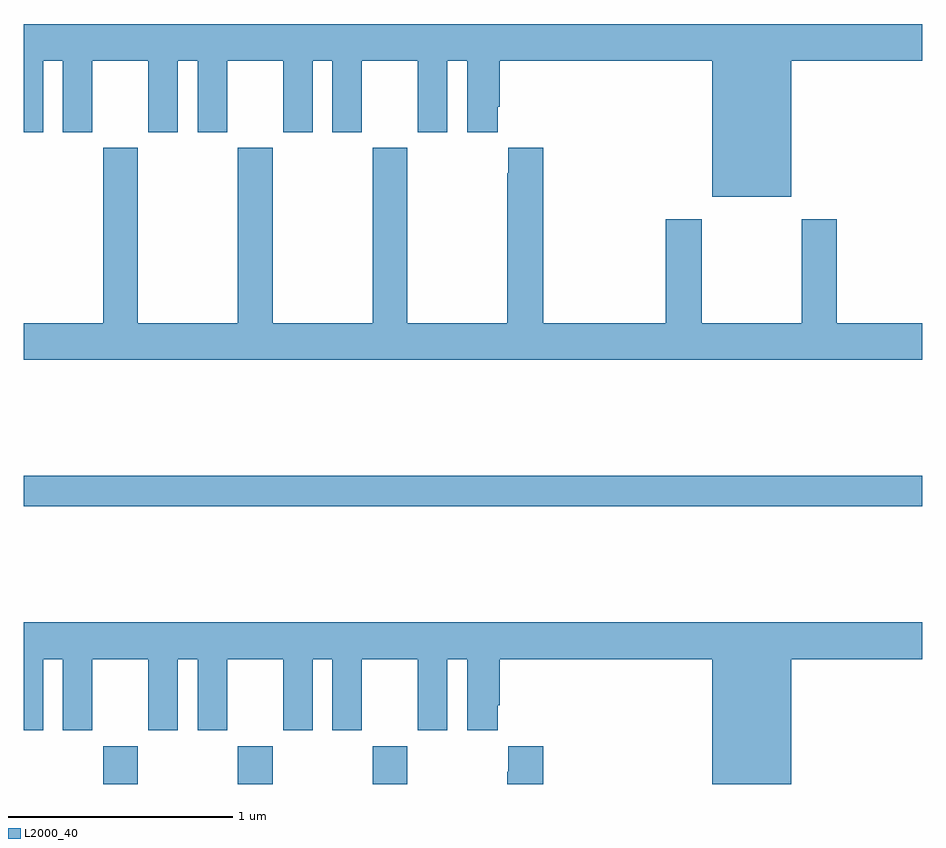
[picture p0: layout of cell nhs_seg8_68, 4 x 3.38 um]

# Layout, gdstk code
import gdstk
lib = gdstk.Library(unit=1e-6, precision=1e-09)
def R(c, l, rs):  # rectangles x0, y0, x1, y1
    for r in rs: c.add(gdstk.rectangle(r[:2], r[2:], *l))
def A(c, l, x, y, w, h, nx, ny, dx, dy):  # array of equal rectangles
    R(c, l, [(x+i*dx, y+j*dy, x+i*dx+w, y+j*dy+h) for i in range(nx) for j in range(ny)])
def P(c, l, *ps):  # polygons
    for p in ps: c.add(gdstk.Polygon(p, *l))
L2000_40 = (2000, 40)

nhs_seg8_68 = lib.new_cell('nhs_seg8_68')
A(nhs_seg8_68, L2000_40, 113.353, 1159.9, 0.155, 0.168, 3, 1, 0.6, 0)
R(nhs_seg8_68, L2000_40, [(113,1161.136,117,1161.272)])
P(nhs_seg8_68, L2000_40, [(116.416,1163.12),(117,1163.12),(117,1163.284),(113,1163.284),(113,1162.803),(113.086,1162.803),(113.086,1163.12),(113.174,1163.12),(113.174,1162.803),(113.305,1162.803),(113.305,1163.12),(113.555,1163.12),(113.555,1162.803),(113.686,1162.803),(113.686,1163.12),(113.774,1163.12),(113.774,1162.803),(113.905,1162.803),(113.905,1163.12),(114.155,1163.12),(114.155,1162.803),(114.286,1162.803),(114.286,1163.12),(114.374,1163.12),(114.374,1162.803),(114.505,1162.803),(114.505,1163.12),(114.755,1163.12),(114.755,1162.803),(114.886,1162.803),(114.886,1163.12),(114.974,1163.12),(114.974,1162.803),(115.111,1162.803),(115.111,1162.915),(115.118,1162.915),(115.118,1163.12),(116.066,1163.12),(116.066,1162.514),(116.416,1162.514)],
  [(117,1161.952),(116.619,1161.952),(116.619,1162.414),(116.464,1162.414),(116.464,1161.952),(116.019,1161.952),(116.019,1162.414),(115.859,1162.414),(115.859,1161.952),(115.313,1161.952),(115.313,1162.732),(115.157,1162.732),(115.157,1162.619),(115.153,1162.619),(115.153,1161.952),(114.708,1161.952),(114.708,1162.732),(114.553,1162.732),(114.553,1161.952),(114.108,1161.952),(114.108,1162.732),(113.953,1162.732),(113.953,1161.952),(113.508,1161.952),(113.508,1162.732),(113.353,1162.732),(113.353,1161.952),(113,1161.952),(113,1161.788),(117,1161.788)],
  [(116.416,1160.456),(117,1160.456),(117,1160.62),(113,1160.62),(113,1160.139),(113.086,1160.139),(113.086,1160.456),(113.174,1160.456),(113.174,1160.139),(113.305,1160.139),(113.305,1160.456),(113.555,1160.456),(113.555,1160.139),(113.686,1160.139),(113.686,1160.456),(113.774,1160.456),(113.774,1160.139),(113.905,1160.139),(113.905,1160.456),(114.155,1160.456),(114.155,1160.139),(114.286,1160.139),(114.286,1160.456),(114.374,1160.456),(114.374,1160.139),(114.505,1160.139),(114.505,1160.456),(114.755,1160.456),(114.755,1160.139),(114.886,1160.139),(114.886,1160.456),(114.974,1160.456),(114.974,1160.139),(115.111,1160.139),(115.111,1160.251),(115.118,1160.251),(115.118,1160.456),(116.066,1160.456),(116.066,1159.9),(116.416,1159.9)],
  [(115.313,1160.068),(115.157,1160.068),(115.157,1159.955),(115.153,1159.955),(115.153,1159.9),(115.313,1159.9)])

lib.write_gds('nhs_seg8_68.gds')
